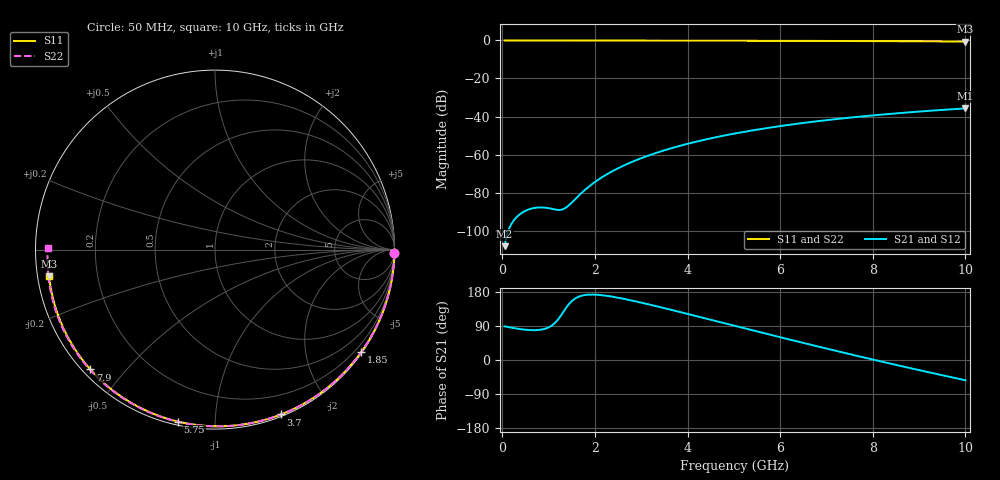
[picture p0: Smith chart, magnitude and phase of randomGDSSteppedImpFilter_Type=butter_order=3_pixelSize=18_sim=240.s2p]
! freq	dB(S11)	phase(S11)	dB(S12)	phase(S12)
!  dB(S21)	phase(S21)	dB(S22)	phase(S22)
!S-par simulation data
#  GHz  S  DB  R 50
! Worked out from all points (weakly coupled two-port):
!   200 points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, 50 MHz to 10 GHz, reference 50 ohm
!   highest |S21| = -35.73 dB at 10 GHz (marker M1); lowest = -108.2 dB at 50 MHz (marker M2)
!   lowest |S11| = -0.6 dB at 10 GHz (marker M3), VSWR 30.31, Z = 1.66 - j4.02 ohm
!   |S11| at or under -10 dB: nowhere
!   |S22| runs from -0.6 to 0.0 dB; largest |S21 - S12| = 0
!   S11 on the Smith chart (normalised r, x): 50 MHz: open; 1.85 GHz: 0.03, -3.17; 3.7 GHz: 0.02, -1.48; 5.75 GHz: 0.02, -0.81; 7.9 GHz: 0.02, -0.40; 10 GHz: 0.03, -0.08
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0.05  -0.00 -1.0  -108.17 88.8  -108.17 88.8  -0.00 -1.0
0.45  -0.01 -8.7  -90.21 80.6  -90.21 80.6  -0.01 -9.2
0.85  -0.02 -16.3  -87.79 80.3  -87.79 80.3  -0.02 -17.3
1.25  -0.03 -23.9  -89.10 114.5  -89.10 114.5  -0.03 -25.4
1.7  -0.04 -32.3  -80.44 169.1  -80.44 169.1  -0.04 -34.3
1.75  -0.04 -33.2  -79.32 170.6  -79.32 170.6  -0.04 -35.3
1.85  -0.04 -35.1  -77.23 172.3  -77.23 172.3  -0.05 -37.2
2  -0.05 -37.8  -74.43 172.5  -74.43 172.5  -0.05 -40.2
2.15  -0.05 -40.6  -71.97 171.0  -71.97 171.0  -0.05 -43.1
2.5  -0.06 -47.0  -67.20 164.4  -67.20 164.4  -0.06 -49.8
2.9  -0.07 -54.1  -62.86 154.2  -62.86 154.2  -0.07 -57.4
3.4  -0.08 -63.0  -58.52 139.8  -58.52 139.8  -0.09 -66.7
3.7  -0.09 -68.2  -56.32 130.8  -56.32 130.8  -0.10 -72.2
4.35  -0.11 -79.3  -52.30 110.9  -52.30 110.9  -0.12 -83.9
5.05  -0.14 -90.9  -48.80 89.3  -48.80 89.3  -0.15 -96.1
5.75  -0.17 -102.2  -45.93 67.7  -45.93 67.7  -0.18 -107.9
6.7  -0.23 -117.2  -42.77 39.1  -42.77 39.1  -0.24 -123.7
7.3  -0.27 -126.7  -41.10 21.4  -41.10 21.4  -0.29 -133.6
7.9  -0.33 -136.1  -39.64 4.0  -39.64 4.0  -0.34 -143.6
8.35  -0.37 -143.2  -38.66 -8.7  -38.66 -8.7  -0.39 -151.1
9.2  -0.47 -157.1  -37.03 -32.2  -37.03 -32.2  -0.49 -165.8
10  -0.57 -170.8  -35.73 -53.5  -35.73 -53.5  -0.62 179.6
